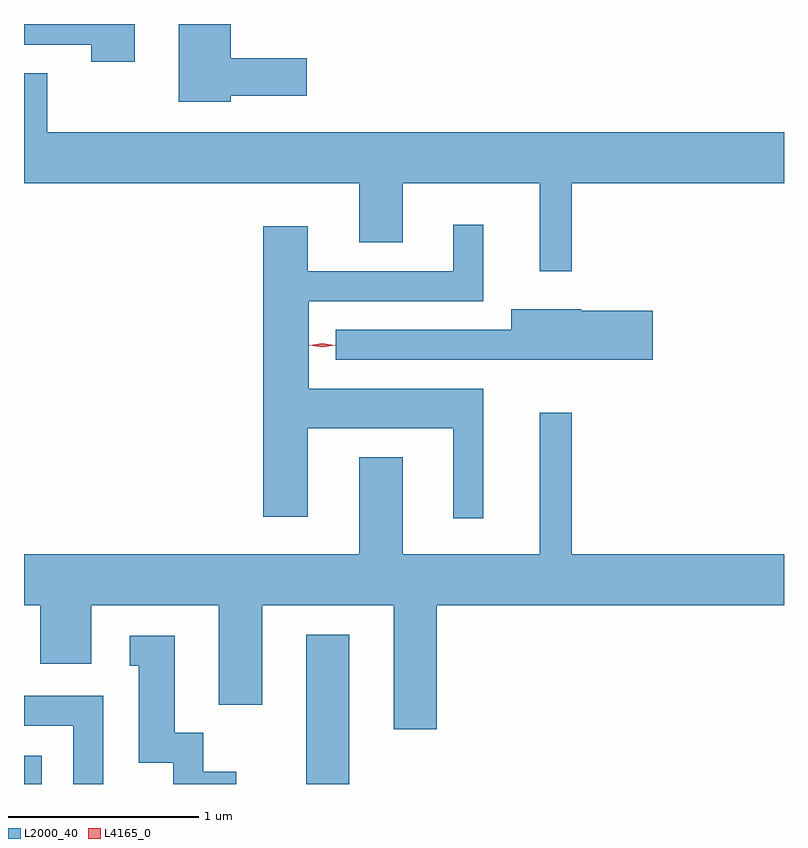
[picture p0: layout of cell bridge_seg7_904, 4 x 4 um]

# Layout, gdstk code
import gdstk
lib = gdstk.Library(unit=1e-6, precision=1e-09)
def R(c, l, rs):  # rectangles x0, y0, x1, y1
    for r in rs: c.add(gdstk.rectangle(r[:2], r[2:], *l))
def P(c, l, *ps):  # polygons
    for p in ps: c.add(gdstk.Polygon(p, *l))
L2000_40 = (2000, 40)
L4165_0 = (4165, 0)

bridge_seg7_904 = lib.new_cell('bridge_seg7_904')
R(bridge_seg7_904, L2000_40, [(561.096,1700.054,561.189,1700.204), (562.581,1700.054,562.809,1700.839)])
P(bridge_seg7_904, L2000_40, [(562.184,1703.676),(562.584,1703.676),(562.584,1703.874),(562.184,1703.874),(562.184,1704.054),(561.911,1704.054),(561.911,1703.646),(562.184,1703.646)],
  [(561.679,1704.054),(561.096,1704.054),(561.096,1703.946),(561.451,1703.946),(561.451,1703.856),(561.679,1703.856)],
  [(563.979,1703.216),(565.096,1703.216),(565.096,1703.484),(561.219,1703.484),(561.219,1703.794),(561.096,1703.794),(561.096,1703.216),(562.861,1703.216),(562.861,1702.906),(563.089,1702.906),(563.089,1703.216),(563.811,1703.216),(563.811,1702.753),(563.979,1702.753)],
  [(563.514,1702.134),(562.594,1702.134),(562.594,1702.596),(563.514,1702.596),(563.514,1702.998),(563.356,1702.998),(563.356,1702.754),(562.589,1702.754),(562.589,1702.989),(562.356,1702.989),(562.356,1701.461),(562.589,1701.461),(562.589,1701.926),(563.356,1701.926),(563.356,1701.453),(563.514,1701.453)],
  [(564.404,1702.544),(564.03,1702.544),(564.03,1702.554),(563.661,1702.554),(563.661,1702.444),(562.738,1702.444),(562.738,1702.286),(564.404,1702.286)],
  [(563.269,1700.996),(565.096,1700.996),(565.096,1701.264),(563.979,1701.264),(563.979,1702.008),(563.811,1702.008),(563.811,1701.264),(563.089,1701.264),(563.089,1701.774),(562.861,1701.774),(562.861,1701.264),(561.096,1701.264),(561.096,1700.996),(561.181,1700.996),(561.181,1700.686),(561.449,1700.686),(561.449,1700.996),(562.121,1700.996),(562.121,1700.471),(562.349,1700.471),(562.349,1700.996),(563.041,1700.996),(563.041,1700.341),(563.269,1700.341)],
  [(562.214,1700.119),(562.039,1700.119),(562.039,1700.324),(561.889,1700.324),(561.889,1700.834),(561.653,1700.834),(561.653,1700.676),(561.701,1700.676),(561.701,1700.166),(561.881,1700.166),(561.881,1700.054),(562.214,1700.054)],
  [(561.514,1700.519),(561.096,1700.519),(561.096,1700.361),(561.356,1700.361),(561.356,1700.054),(561.514,1700.054)])
P(bridge_seg7_904, L4165_0, [(562.667,1702.352),(562.598,1702.362),(562.597,1702.362),(562.598,1702.363),(562.667,1702.372),(562.736,1702.363),(562.736,1702.362),(562.736,1702.362)],
  [(562.667,1702.354),(562.601,1702.363),(562.6,1702.364),(562.601,1702.364),(562.667,1702.374),(562.732,1702.364),(562.733,1702.364),(562.732,1702.363)])

lib.write_gds('bridge_seg7_904.gds')
